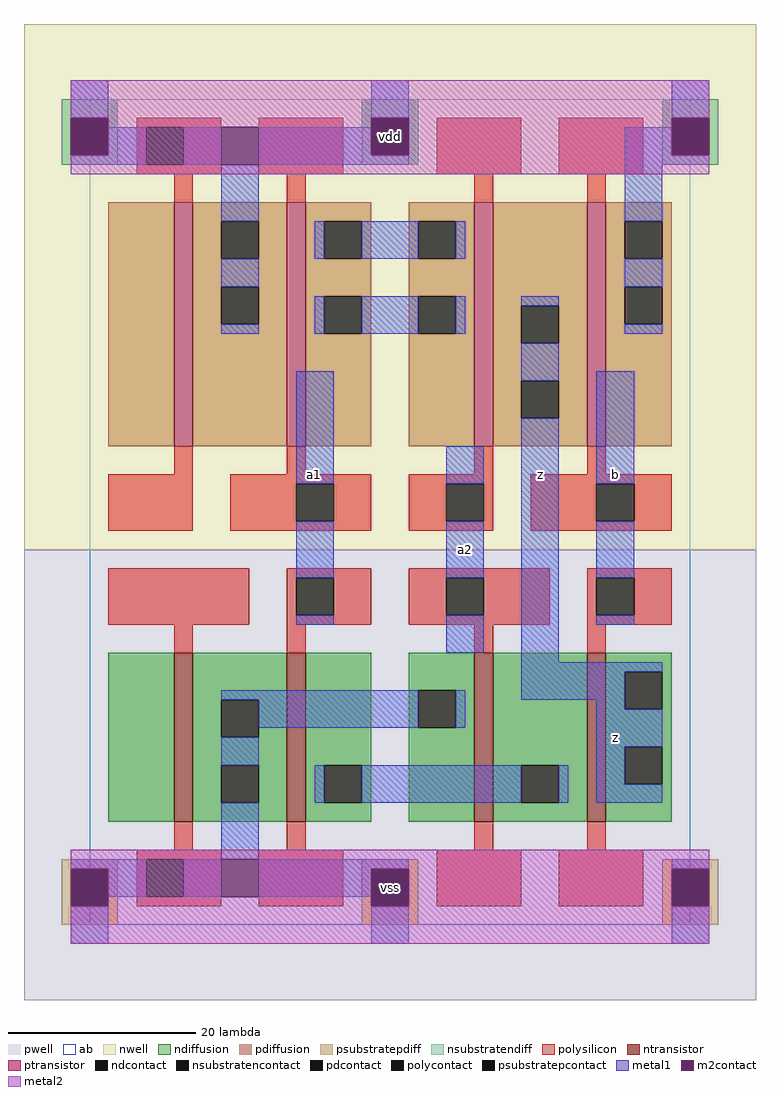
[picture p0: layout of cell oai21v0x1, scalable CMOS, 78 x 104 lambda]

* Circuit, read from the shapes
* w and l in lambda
.subckt oai21v0x1 a1 a2 b vdd vss z
M1 vss vss n1 vss nfet w=18 l=2
M2 n2 a1 vss vss nfet w=18 l=2
M3 n2 a2 vss vss nfet w=18 l=2
M4 z b n2 vss nfet w=18 l=2
M5 vdd vdd n3 vdd pfet w=26 l=2
M6 n4 a1 vdd vdd pfet w=26 l=2
M7 z a2 n4 vdd pfet w=26 l=2
M8 vdd b z vdd pfet w=26 l=2
.ends

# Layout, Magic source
magic
tech scmos
<< ab >>
rect 0 0 64 88
<< pwell >>
rect -7 -8 71 40
<< nwell >>
rect -7 40 71 96
<< polysilicon >>
rect 5 85 14 86
rect 5 81 6 85
rect 10 81 14 85
rect 5 80 14 81
rect 18 80 27 86
rect 37 80 46 86
rect 50 80 59 86
rect 9 77 11 80
rect 21 77 23 80
rect 41 77 43 80
rect 53 77 55 80
rect 9 48 11 51
rect 21 48 23 51
rect 41 48 43 51
rect 53 48 55 51
rect 2 42 11 48
rect 15 47 30 48
rect 15 43 22 47
rect 26 43 30 47
rect 15 42 30 43
rect 34 47 43 48
rect 34 43 38 47
rect 42 43 43 47
rect 34 42 43 43
rect 47 47 62 48
rect 47 43 54 47
rect 58 43 62 47
rect 47 42 62 43
rect 2 32 17 38
rect 21 37 30 38
rect 21 33 22 37
rect 26 33 30 37
rect 21 32 30 33
rect 34 37 49 38
rect 34 33 38 37
rect 42 33 49 37
rect 34 32 49 33
rect 53 37 62 38
rect 53 33 54 37
rect 58 33 62 37
rect 53 32 62 33
rect 9 29 11 32
rect 21 29 23 32
rect 41 29 43 32
rect 53 29 55 32
rect 9 8 11 11
rect 21 8 23 11
rect 41 8 43 11
rect 53 8 55 11
rect 5 7 14 8
rect 5 3 6 7
rect 10 3 14 7
rect 5 2 14 3
rect 18 2 27 8
rect 37 2 46 8
rect 50 2 59 8
<< ndiffusion >>
rect 2 11 9 29
rect 11 24 21 29
rect 11 20 14 24
rect 18 20 21 24
rect 11 17 21 20
rect 11 13 14 17
rect 18 13 21 17
rect 11 11 21 13
rect 23 17 30 29
rect 23 13 25 17
rect 29 13 30 17
rect 23 11 30 13
rect 34 25 41 29
rect 34 21 35 25
rect 39 21 41 25
rect 34 11 41 21
rect 43 17 53 29
rect 43 13 46 17
rect 50 13 53 17
rect 43 11 53 13
rect 55 27 62 29
rect 55 23 57 27
rect 61 23 62 27
rect 55 19 62 23
rect 55 15 57 19
rect 61 15 62 19
rect 55 11 62 15
<< pdiffusion >>
rect 2 51 9 77
rect 11 75 21 77
rect 11 71 14 75
rect 18 71 21 75
rect 11 68 21 71
rect 11 64 14 68
rect 18 64 21 68
rect 11 51 21 64
rect 23 75 30 77
rect 23 71 25 75
rect 29 71 30 75
rect 23 67 30 71
rect 23 63 25 67
rect 29 63 30 67
rect 23 51 30 63
rect 34 75 41 77
rect 34 71 35 75
rect 39 71 41 75
rect 34 67 41 71
rect 34 63 35 67
rect 39 63 41 67
rect 34 51 41 63
rect 43 66 53 77
rect 43 62 46 66
rect 50 62 53 66
rect 43 58 53 62
rect 43 54 46 58
rect 50 54 53 58
rect 43 51 53 54
rect 55 75 62 77
rect 55 71 57 75
rect 61 71 62 75
rect 55 68 62 71
rect 55 64 57 68
rect 61 64 62 68
rect 55 51 62 64
<< metal1 >>
rect -2 86 2 90
rect 30 86 34 90
rect 2 82 6 85
rect -2 81 6 82
rect 10 81 14 85
rect 18 82 30 85
rect 62 86 66 90
rect 18 81 34 82
rect 57 82 62 85
rect 57 81 66 82
rect 14 75 18 81
rect 57 75 61 81
rect 24 71 25 75
rect 29 71 35 75
rect 39 71 40 75
rect 14 68 18 71
rect 57 68 61 71
rect 14 63 18 64
rect 24 63 25 67
rect 29 63 35 67
rect 39 63 40 67
rect 46 66 50 67
rect 57 63 61 64
rect 22 47 26 59
rect 46 58 50 62
rect 22 37 26 43
rect 22 32 26 33
rect 38 47 42 51
rect 38 37 42 43
rect 38 29 42 33
rect 46 28 50 54
rect 54 47 58 59
rect 54 37 58 43
rect 54 32 58 33
rect 46 27 61 28
rect 14 24 35 25
rect 18 21 35 24
rect 39 21 40 25
rect 46 24 57 27
rect 54 23 57 24
rect 14 17 18 20
rect 54 19 61 23
rect 24 13 25 17
rect 29 13 46 17
rect 50 13 51 17
rect 54 15 57 19
rect 54 13 61 15
rect 14 7 18 13
rect -2 6 6 7
rect 2 3 6 6
rect 10 3 14 7
rect 18 6 34 7
rect 18 3 30 6
rect -2 -2 2 2
rect 30 -2 34 2
rect 62 6 66 7
rect 62 -2 66 2
<< metal2 >>
rect -2 86 66 90
rect 2 85 30 86
rect 2 82 14 85
rect -2 81 14 82
rect 18 82 30 85
rect 34 82 62 86
rect 18 81 66 82
rect -2 80 66 81
rect -2 7 66 8
rect -2 6 14 7
rect 2 3 14 6
rect 18 6 66 7
rect 18 3 30 6
rect 2 2 30 3
rect 34 2 62 6
rect -2 -2 66 2
<< ntransistor >>
rect 9 11 11 29
rect 21 11 23 29
rect 41 11 43 29
rect 53 11 55 29
<< ptransistor >>
rect 9 51 11 77
rect 21 51 23 77
rect 41 51 43 77
rect 53 51 55 77
<< polycontact >>
rect 6 81 10 85
rect 22 43 26 47
rect 38 43 42 47
rect 54 43 58 47
rect 22 33 26 37
rect 38 33 42 37
rect 54 33 58 37
rect 6 3 10 7
<< ndcontact >>
rect 14 20 18 24
rect 14 13 18 17
rect 25 13 29 17
rect 35 21 39 25
rect 46 13 50 17
rect 57 23 61 27
rect 57 15 61 19
<< pdcontact >>
rect 14 71 18 75
rect 14 64 18 68
rect 25 71 29 75
rect 25 63 29 67
rect 35 71 39 75
rect 35 63 39 67
rect 46 62 50 66
rect 46 54 50 58
rect 57 71 61 75
rect 57 64 61 68
<< m2contact >>
rect -2 82 2 86
rect 14 81 18 85
rect 30 82 34 86
rect 62 82 66 86
rect -2 2 2 6
rect 14 3 18 7
rect 30 2 34 6
rect 62 2 66 6
<< psubstratepcontact >>
rect -2 2 2 6
rect 30 2 34 6
rect 62 2 66 6
<< nsubstratencontact >>
rect -2 82 2 86
rect 30 82 34 86
rect 62 82 66 86
<< psubstratepdiff >>
rect -3 6 3 7
rect -3 2 -2 6
rect 2 2 3 6
rect 29 6 35 7
rect 29 2 30 6
rect 34 2 35 6
rect 61 6 67 7
rect 61 2 62 6
rect 66 2 67 6
rect -3 0 3 2
rect 29 0 35 2
rect 61 0 67 2
<< nsubstratendiff >>
rect -3 86 3 88
rect 29 86 35 88
rect 61 86 67 88
rect -3 82 -2 86
rect 2 82 3 86
rect -3 81 3 82
rect 29 82 30 86
rect 34 82 35 86
rect 29 81 35 82
rect 61 82 62 86
rect 66 82 67 86
rect 61 81 67 82
<< labels >>
rlabel metal1 24 48 24 48 6 a1
rlabel metal1 40 40 40 40 6 a2
rlabel metal1 56 20 56 20 6 z
rlabel metal1 56 48 56 48 6 b
rlabel metal1 48 48 48 48 6 z
rlabel m2contact 32 4 32 4 6 vss
rlabel m2contact 32 84 32 84 6 vdd
<< end >>
